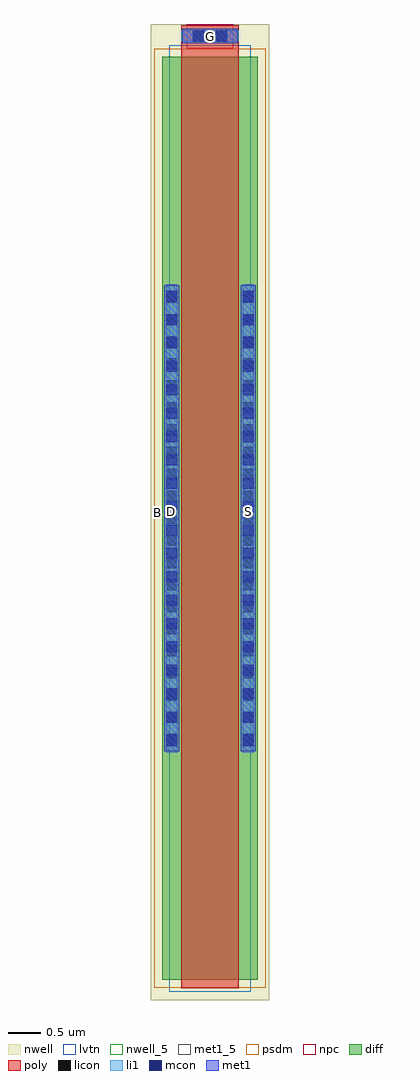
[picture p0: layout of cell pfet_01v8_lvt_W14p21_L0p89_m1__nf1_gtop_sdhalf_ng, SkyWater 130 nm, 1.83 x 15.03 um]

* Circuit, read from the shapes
.subckt pfet_01v8_lvt_W14p21_L0p89_m1__nf1_gtop_sdhalf_ng B D G S
XM1 S G D B sky130_fd_pr__pfet_01v8_lvt w=14.21 l=0.89
.ends

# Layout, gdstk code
import gdstk
lib = gdstk.Library(unit=1e-6, precision=1e-09)
def R(c, l, rs):  # rectangles x0, y0, x1, y1
    for r in rs: c.add(gdstk.rectangle(r[:2], r[2:], *l))
def A(c, l, x, y, w, h, nx, ny, dx, dy):  # array of equal rectangles
    R(c, l, [(x+i*dx, y+j*dy, x+i*dx+w, y+j*dy+h) for i in range(nx) for j in range(ny)])
nwell_5 = (64, 5)
nwell = (64, 20)
diff = (65, 20)
poly = (66, 20)
licon = (66, 44)
li1 = (67, 20)
mcon = (67, 44)
met1_5 = (68, 5)
met1 = (68, 20)
psdm = (94, 20)
npc = (95, 20)
lvtn = (125, 44)

sky130_fd_pr__pfet_01v8_ = lib.new_cell('sky130_fd_pr__pfet_01v8_lvt_TTB6VG')
R(sky130_fd_pr__pfet_01v8_, nwell, [(-0.915,-7.595,0.915,7.425)])
R(sky130_fd_pr__pfet_01v8_, diff, [(-0.735,-7.285,0.735,6.925)])
R(sky130_fd_pr__pfet_01v8_, poly, [(-0.445,-7.415,0.445,7.41)])
A(sky130_fd_pr__pfet_01v8_, licon, -0.675, -3.665, 0.17, 0.17, 1, 21, 0, 0.34)
A(sky130_fd_pr__pfet_01v8_, licon, 0.505, -3.665, 0.17, 0.17, 1, 21, 0, 0.34)
R(sky130_fd_pr__pfet_01v8_, licon, [(-0.255,7.16,-0.085,7.33), (0.085,7.16,0.255,7.33)])
R(sky130_fd_pr__pfet_01v8_, li1, [(-0.675,-3.785,-0.505,3.425), (0.505,-3.785,0.675,3.425), (-0.445,7.16,0.445,7.33)])
A(sky130_fd_pr__pfet_01v8_, mcon, -0.675, -3.685, 0.17, 0.17, 1, 20, 0, 0.36)
A(sky130_fd_pr__pfet_01v8_, mcon, 0.505, -3.685, 0.17, 0.17, 1, 20, 0, 0.36)
R(sky130_fd_pr__pfet_01v8_, mcon, [(-0.265,7.16,-0.095,7.33), (0.095,7.16,0.265,7.33)])
R(sky130_fd_pr__pfet_01v8_, met1, [(-0.705,-3.765,-0.475,3.405), (0.475,-3.765,0.705,3.405), (-0.425,7.13,0.425,7.36)])
R(sky130_fd_pr__pfet_01v8_, psdm, [(-0.86,-7.41,0.86,7.05)])
R(sky130_fd_pr__pfet_01v8_, npc, [(-0.355,7.06,0.355,7.43)])
R(sky130_fd_pr__pfet_01v8_, lvtn, [(-0.625,-7.465,0.625,7.105)])
sky130_fd_pr__pfet_01v8_.add(gdstk.Label('D', (-0.59,-0.18), layer=67, texttype=5))
sky130_fd_pr__pfet_01v8_.add(gdstk.Label('S', (0.59,-0.18), layer=67, texttype=5))
sky130_fd_pr__pfet_01v8_.add(gdstk.Label('G', (0,7.245), layer=67, texttype=5))

pfet_01v8_lvt_w14p21_l0p = lib.new_cell('pfet_01v8_lvt_W14p21_L0p89_m1__nf1_gtop_sdhalf_ng')
R(pfet_01v8_lvt_w14p21_l0p, nwell_5, [(0.05,7.46,0.15,7.56)])
R(pfet_01v8_lvt_w14p21_l0p, nwell, [(0.05,7.46,0.15,7.56)])
R(pfet_01v8_lvt_w14p21_l0p, met1_5, [(0.21,7.415,0.44,7.615), (1.39,7.415,1.62,7.615), (0.49,14.725,1.34,14.955)])
R(pfet_01v8_lvt_w14p21_l0p, met1, [(0.21,7.415,0.44,7.615), (1.39,7.415,1.62,7.615), (0.49,14.725,1.34,14.955)])
pfet_01v8_lvt_w14p21_l0p.add(gdstk.Reference(sky130_fd_pr__pfet_01v8_, (0.915,7.595)))
pfet_01v8_lvt_w14p21_l0p.add(gdstk.Label('D', (0.325,7.515), layer=68, texttype=5))
pfet_01v8_lvt_w14p21_l0p.add(gdstk.Label('S', (1.505,7.515), layer=68, texttype=5))
pfet_01v8_lvt_w14p21_l0p.add(gdstk.Label('G', (0.915,14.84), layer=68, texttype=5))
pfet_01v8_lvt_w14p21_l0p.add(gdstk.Label('B', (0.1,7.51), layer=64, texttype=5))

lib.write_gds('pfet_01v8_lvt_W14p21_L0p89_m1__nf1_gtop_sdhalf_ng.gds')
